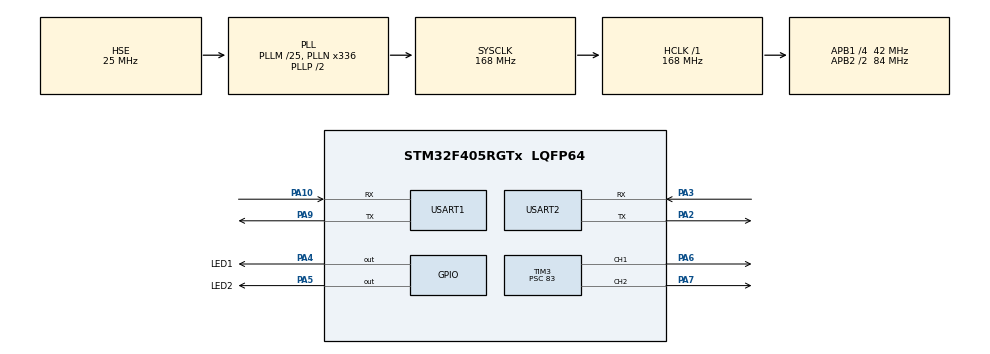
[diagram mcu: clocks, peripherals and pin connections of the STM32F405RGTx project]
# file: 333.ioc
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Dma.Request0=USART2_TX
Dma.Request1=USART2_RX
Dma.USART2_RX.1.Direction=DMA_PERIPH_TO_MEMORY
Dma.USART2_RX.1.FIFOMode=DMA_FIFOMODE_DISABLE
Dma.USART2_RX.1.Instance=DMA1_Stream5
Dma.USART2_RX.1.MemDataAlignment=DMA_MDATAALIGN_BYTE
Dma.USART2_RX.1.MemInc=DMA_MINC_ENABLE
Dma.USART2_RX.1.Mode=DMA_NORMAL
Dma.USART2_RX.1.PeriphDataAlignment=DMA_PDATAALIGN_BYTE
Dma.USART2_RX.1.PeriphInc=DMA_PINC_DISABLE
Dma.USART2_RX.1.Priority=DMA_PRIORITY_LOW
Dma.USART2_TX.0.Direction=DMA_MEMORY_TO_PERIPH
Dma.USART2_TX.0.FIFOMode=DMA_FIFOMODE_DISABLE
Dma.USART2_TX.0.Instance=DMA1_Stream6
Dma.USART2_TX.0.MemDataAlignment=DMA_MDATAALIGN_BYTE
Dma.USART2_TX.0.MemInc=DMA_MINC_ENABLE
Dma.USART2_TX.0.Mode=DMA_NORMAL
Dma.USART2_TX.0.PeriphDataAlignment=DMA_PDATAALIGN_BYTE
Dma.USART2_TX.0.PeriphInc=DMA_PINC_DISABLE
Dma.USART2_TX.0.Priority=DMA_PRIORITY_LOW
Mcu.Family=STM32F4
Mcu.Name=STM32F405RGTx
Mcu.Package=LQFP64
NVIC.DMA1_Stream5_IRQn=true\:0\:0\:false\:false\:true\:false\:true\:true
NVIC.DMA1_Stream6_IRQn=true\:0\:0\:false\:false\:true\:false\:true\:true
NVIC.PriorityGroup=NVIC_PRIORITYGROUP_4
NVIC.RCC_IRQn=true\:0\:0\:false\:false\:true\:true\:false\:true
NVIC.TIM2_IRQn=true\:0\:0\:false\:false\:true\:true\:true\:true
NVIC.TIM3_IRQn=true\:0\:0\:false\:false\:true\:true\:true\:true
NVIC.TIM8_UP_TIM13_IRQn=true\:15\:0\:false\:false\:true\:false\:true\:true
NVIC.TimeBase=TIM8_UP_TIM13_IRQn
NVIC.TimeBaseIP=TIM8
NVIC.USART1_IRQn=true\:1\:0\:true\:false\:true\:true\:true\:true
NVIC.USART2_IRQn=true\:0\:0\:false\:false\:true\:true\:true\:true
PA10.GPIO_PuPd=GPIO_PULLUP
PA10.Mode=Asynchronous
PA10.Signal=USART1_RX
PA13.Mode=Serial_Wire
PA13.Signal=SYS_JTMS-SWDIO
PA14.Mode=Serial_Wire
PA14.Signal=SYS_JTCK-SWCLK
PA2.Mode=Asynchronous
PA2.Signal=USART2_TX
PA3.GPIO_PuPd=GPIO_PULLUP
PA3.Mode=Asynchronous
PA3.Signal=USART2_RX
PA4.GPIO_Label=LED1
PA4.Signal=GPIO_Output
PA5.GPIO_Label=LED2
PA5.Signal=GPIO_Output
PA6.Signal=S_TIM3_CH1
PA7.Signal=S_TIM3_CH2
PA9.Mode=Asynchronous
PA9.Signal=USART1_TX
PH0-OSC_IN.Mode=HSE-External-Oscillator
PH0-OSC_IN.Signal=RCC_OSC_IN
PH1-OSC_OUT.Mode=HSE-External-Oscillator
PH1-OSC_OUT.Signal=RCC_OSC_OUT
ProjectManager.HeapSize=0x200
ProjectManager.StackSize=0x400
ProjectManager.TargetToolchain=MDK-ARM V5.32
RCC.48MHZClocksFreq_Value=84000000
RCC.AHBFreq_Value=168000000
RCC.APB1CLKDivider=RCC_HCLK_DIV4
RCC.APB1Freq_Value=42000000
RCC.APB1TimFreq_Value=84000000
RCC.APB2CLKDivider=RCC_HCLK_DIV2
RCC.APB2Freq_Value=84000000
RCC.APB2TimFreq_Value=168000000
RCC.CortexFreq_Value=168000000
RCC.HCLKFreq_Value=168000000
RCC.HSE_VALUE=25000000
RCC.HSI_VALUE=16000000
RCC.LSE_VALUE=32768
RCC.PLLM=25
RCC.PLLN=336
RCC.PLLSourceVirtual=RCC_PLLSOURCE_HSE
RCC.SYSCLKFreq_VALUE=168000000
RCC.SYSCLKSource=RCC_SYSCLKSOURCE_PLLCLK
RCC.VCOOutputFreq_Value=336000000
SH.S_TIM3_CH1.0=TIM3_CH1,PWM Generation1 CH1
SH.S_TIM3_CH2.0=TIM3_CH2,PWM Generation2 CH2
TIM2.Period=9999
TIM2.Prescaler=8399
TIM3.AutoReloadPreload=TIM_AUTORELOAD_PRELOAD_ENABLE
TIM3.Channel-PWM\ Generation1\ CH1=TIM_CHANNEL_1
TIM3.Channel-PWM\ Generation2\ CH2=TIM_CHANNEL_2
TIM3.Period=999
TIM3.Prescaler=83
USART1.VirtualMode=VM_ASYNC
USART2.VirtualMode=VM_ASYNC
VP_SYS_VS_tim8.Mode=TIM8
VP_TIM2_VS_ClockSourceINT.Mode=Internal
VP_TIM3_VS_ClockSourceINT.Mode=Internal
board=custom

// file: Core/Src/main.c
/* USER CODE BEGIN Header */
/**
  ******************************************************************************
  * @file           : main.c
  * @brief          : Main program body
  ******************************************************************************
  * @attention
  *
  * Copyright (c) 2025 STMicroelectronics.
  * All rights reserved.
  *
  * This software is licensed under terms that can be found in the LICENSE file
  * in the root directory of this software component.
  * If no LICENSE file comes with this software, it is provided AS-IS.
  *
  ******************************************************************************
  */
/* USER CODE END Header */
#include "main.h"
#include "dma.h"
#include "tim.h"
#include "usart.h"
#include "gpio.h"

/* USER CODE BEGIN Includes */
#include <stdio.h>
#include <EventRecorder.h>
#include <string.h>
/* USER CODE END Includes */

/* USER CODE BEGIN PV */
int led_count =0;
int print_count =0;
/* USER CODE END PV */

void SystemClock_Config(void);
/* USER CODE BEGIN PFP */
int fputc(int ch, FILE *f)
{
  HAL_UART_Transmit(&huart2, (unsigned char *)&ch, 1, 50);
  return ch;
}

/* USER CODE END PFP */

int main(void)
{

  /* USER CODE BEGIN 1 */
	EventRecorderInitialize(EventRecordAll, 1U);
	EventRecorderStart();
  /* USER CODE END 1 */

  /* MCU Configuration--------------------------------------------------------*/

  /* Reset of all peripherals, Initializes the Flash interface and the Systick. */
  HAL_Init();

  /* Configure the system clock */
  SystemClock_Config();

  /* Initialize all configured peripherals */
  MX_GPIO_Init();
  MX_DMA_Init();
  MX_TIM2_Init();
  MX_TIM3_Init();
  MX_USART1_UART_Init();
  MX_USART2_UART_Init();
  /* USER CODE BEGIN 2 */

//	HAL_UART_Receive_DMA(&huart2 , rx_Data , SIZE);

  /* USER CODE END 2 */

  /* Infinite loop */
  /* USER CODE BEGIN WHILE */
  while (1)
  {
		print_sin();
    /* USER CODE END WHILE */

  }
}

void SystemClock_Config(void)
{
  RCC_OscInitTypeDef RCC_OscInitStruct = {0};
  RCC_ClkInitTypeDef RCC_ClkInitStruct = {0};

  /** Configure the main internal regulator output voltage
  */
  __HAL_RCC_PWR_CLK_ENABLE();
  __HAL_PWR_VOLTAGESCALING_CONFIG(PWR_REGULATOR_VOLTAGE_SCALE1);

  /** Initializes the RCC Oscillators according to the specified parameters
  * in the RCC_OscInitTypeDef structure.
  */
  RCC_OscInitStruct.OscillatorType = RCC_OSCILLATORTYPE_HSE;
  RCC_OscInitStruct.HSEState = RCC_HSE_ON;
  RCC_OscInitStruct.PLL.PLLState = RCC_PLL_ON;
  RCC_OscInitStruct.PLL.PLLSource = RCC_PLLSOURCE_HSE;
  RCC_OscInitStruct.PLL.PLLM = 25;
  RCC_OscInitStruct.PLL.PLLN = 336;
  RCC_OscInitStruct.PLL.PLLP = RCC_PLLP_DIV2;
  RCC_OscInitStruct.PLL.PLLQ = 4;
  if (HAL_RCC_OscConfig(&RCC_OscInitStruct) != HAL_OK)
  {
    Error_Handler();
  }

  /** Initializes the CPU, AHB and APB buses clocks
  */
  RCC_ClkInitStruct.ClockType = RCC_CLOCKTYPE_HCLK|RCC_CLOCKTYPE_SYSCLK
                              |RCC_CLOCKTYPE_PCLK1|RCC_CLOCKTYPE_PCLK2;
  RCC_ClkInitStruct.SYSCLKSource = RCC_SYSCLKSOURCE_PLLCLK;
  RCC_ClkInitStruct.AHBCLKDivider = RCC_SYSCLK_DIV1;
  RCC_ClkInitStruct.APB1CLKDivider = RCC_HCLK_DIV4;
  RCC_ClkInitStruct.APB2CLKDivider = RCC_HCLK_DIV2;

  if (HAL_RCC_ClockConfig(&RCC_ClkInitStruct, FLASH_LATENCY_5) != HAL_OK)
  {
    Error_Handler();
  }
}

void HAL_TIM_PeriodElapsedCallback(TIM_HandleTypeDef *htim)
{
  if (htim->Instance == TIM8)
  {
    HAL_IncTick();
  }
  /* USER CODE BEGIN Callback 1 */
  if (htim->Instance == TIM2)
  {
		if(led_count == 0)
			LED1_ON;
		else LED1_OFF;
		if(led_count == 1)
			LED2_ON;
		else LED2_OFF;

		led_count++;
		led_count = led_count%2;

		print_count++;

		if(print_count>=5)
		{
			EventStartA(0);
//			printf("yee~\n");
			EventStopA(0);
			print_count = 0;
		}

  }
  /* USER CODE END Callback 1 */
}

void Error_Handler(void)
{
  __disable_irq();
  while (1)
  {
  }
}
